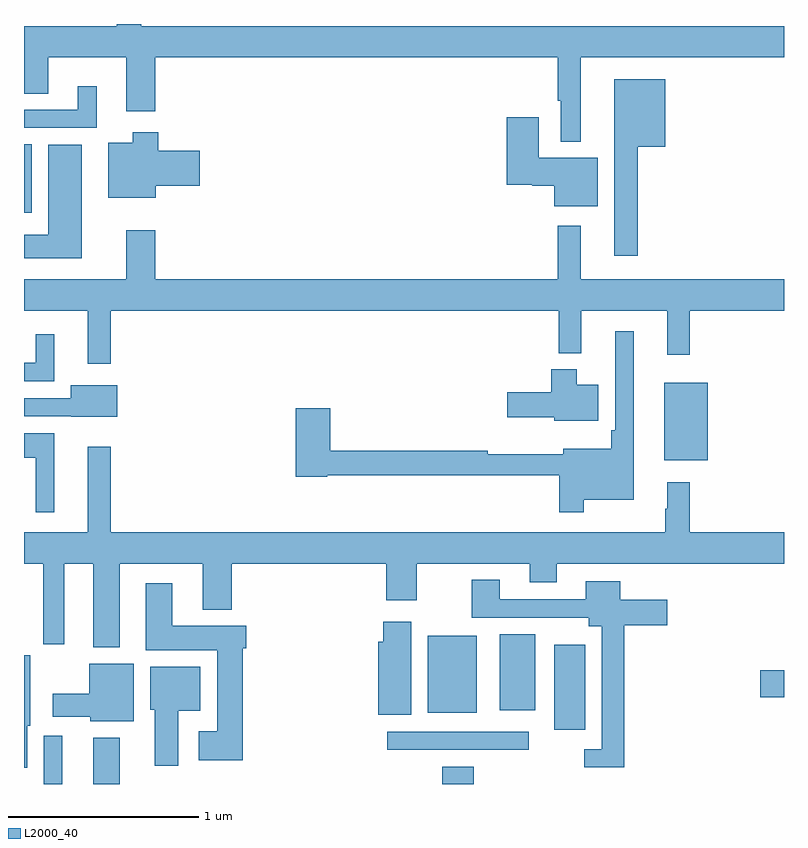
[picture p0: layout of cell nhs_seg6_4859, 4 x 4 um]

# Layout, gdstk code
import gdstk
lib = gdstk.Library(unit=1e-6, precision=1e-09)
def R(c, l, rs):  # rectangles x0, y0, x1, y1
    for r in rs: c.add(gdstk.rectangle(r[:2], r[2:], *l))
def P(c, l, *ps):  # polygons
    for p in ps: c.add(gdstk.Polygon(p, *l))
L2000_40 = (2000, 40)

nhs_seg6_4859 = lib.new_cell('nhs_seg6_4859')
R(nhs_seg6_4859, L2000_40, [(399.105,955.5,399.202,955.753), (399.365,955.5,399.505,955.744), (401.201,955.5,401.366,955.591), (400.911,955.68,401.656,955.776), (401.792,955.785,401.953,956.233), (401.126,955.874,401.383,956.281), (401.504,955.889,401.692,956.287), (402.876,955.957,403,956.099), (402.371,957.203,402.598,957.613), (399,958.506,399.04,958.868)])
P(nhs_seg6_4859, L2000_40, [(401.929,959.324),(403,959.324),(403,959.488),(399.617,959.488),(399.617,959.5),(399.489,959.5),(399.489,959.488),(399,959.488),(399,959.134),(399.127,959.134),(399.127,959.324),(399.539,959.324),(399.539,959.04),(399.692,959.04),(399.692,959.324),(401.808,959.324),(401.808,959.095),(401.825,959.095),(401.825,958.88),(401.929,958.88)],
  [(402.229,958.853),(402.376,958.853),(402.376,959.209),(402.107,959.209),(402.107,958.281),(402.229,958.281)],
  [(399.382,959.173),(399.284,959.173),(399.284,959.049),(399,959.049),(399,958.953),(399.382,958.953)],
  [(402.019,958.795),(401.71,958.795),(401.71,959.008),(401.54,959.008),(401.54,958.655),(401.676,958.655),(401.676,958.648),(401.792,958.648),(401.792,958.541),(402.019,958.541)],
  [(399.694,958.649),(399.925,958.649),(399.925,958.832),(399.707,958.832),(399.707,958.93),(399.572,958.93),(399.572,958.876),(399.443,958.876),(399.443,958.586),(399.694,958.586)],
  [(399.304,958.864),(399.128,958.864),(399.128,958.39),(399,958.39),(399,958.268),(399.304,958.268)],
  [(399.457,957.992),(401.815,957.992),(401.815,957.767),(401.933,957.767),(401.933,957.992),(402.386,957.992),(402.386,957.759),(402.503,957.759),(402.503,957.992),(403,957.992),(403,958.156),(401.929,958.156),(401.929,958.438),(401.808,958.438),(401.808,958.156),(399.692,958.156),(399.692,958.414),(399.539,958.414),(399.539,958.156),(399,958.156),(399,957.992),(399.335,957.992),(399.335,957.711),(399.457,957.711)],
  [(401.947,956.996),(402.208,956.996),(402.208,957.883),(402.111,957.883),(402.111,957.361),(402.091,957.361),(402.091,957.265),(401.837,957.265),(401.837,957.236),(401.441,957.236),(401.441,957.254),(400.613,957.254),(400.613,957.478),(400.43,957.478),(400.43,957.118),(400.596,957.118),(400.596,957.126),(401.818,957.126),(401.818,956.931),(401.947,956.931)],
  [(399.16,957.868),(399.062,957.868),(399.062,957.717),(399,957.717),(399,957.621),(399.16,957.621)],
  [(402.022,957.601),(401.908,957.601),(401.908,957.682),(401.774,957.682),(401.774,957.561),(401.544,957.561),(401.544,957.431),(401.79,957.431),(401.79,957.413),(402.022,957.413)],
  [(399.49,957.598),(399.245,957.598),(399.245,957.531),(399,957.531),(399,957.435),(399.249,957.435),(399.249,957.434),(399.49,957.434)],
  [(399.16,957.346),(399,957.346),(399,957.218),(399.062,957.218),(399.062,956.931),(399.16,956.931)],
  [(399.457,957.274),(399.335,957.274),(399.335,956.824),(399,956.824),(399,956.66),(399.101,956.66),(399.101,956.235),(399.211,956.235),(399.211,956.66),(399.365,956.66),(399.365,956.219),(399.505,956.219),(399.505,956.66),(399.941,956.66),(399.941,956.417),(400.094,956.417),(400.094,956.66),(400.907,956.66),(400.907,956.466),(401.067,956.466),(401.067,956.66),(401.663,956.66),(401.663,956.561),(401.803,956.561),(401.803,956.66),(403,956.66),(403,956.824),(402.503,956.824),(402.503,957.088),(402.386,957.088),(402.386,956.948),(402.375,956.948),(402.375,956.824),(399.457,956.824)],
  [(402.158,956.336),(402.385,956.336),(402.385,956.47),(402.139,956.47),(402.139,956.566),(401.957,956.566),(401.957,956.472),(401.503,956.472),(401.503,956.575),(401.356,956.575),(401.356,956.376),(401.972,956.376),(401.972,956.33),(402.042,956.33),(402.042,955.683),(401.949,955.683),(401.949,955.587),(402.158,955.587)],
  [(400.151,956.214),(400.169,956.214),(400.169,956.332),(399.781,956.332),(399.781,956.557),(399.641,956.557),(399.641,956.204),(400.016,956.204),(400.016,955.777),(399.921,955.777),(399.921,955.625),(400.151,955.625)],
  [(401.038,956.353),(400.892,956.353),(400.892,956.248),(400.865,956.248),(400.865,955.865),(401.038,955.865)],
  [(399.016,955.806),(399.034,955.806),(399.034,956.178),(399,956.178),(399,955.586),(399.016,955.586)],
  [(399.577,956.134),(399.344,956.134),(399.344,955.975),(399.15,955.975),(399.15,955.853),(399.348,955.853),(399.348,955.829),(399.577,955.829)],
  [(399.811,955.886),(399.928,955.886),(399.928,956.116),(399.665,956.116),(399.665,955.89),(399.689,955.89),(399.689,955.596),(399.811,955.596)])

lib.write_gds('nhs_seg6_4859.gds')
